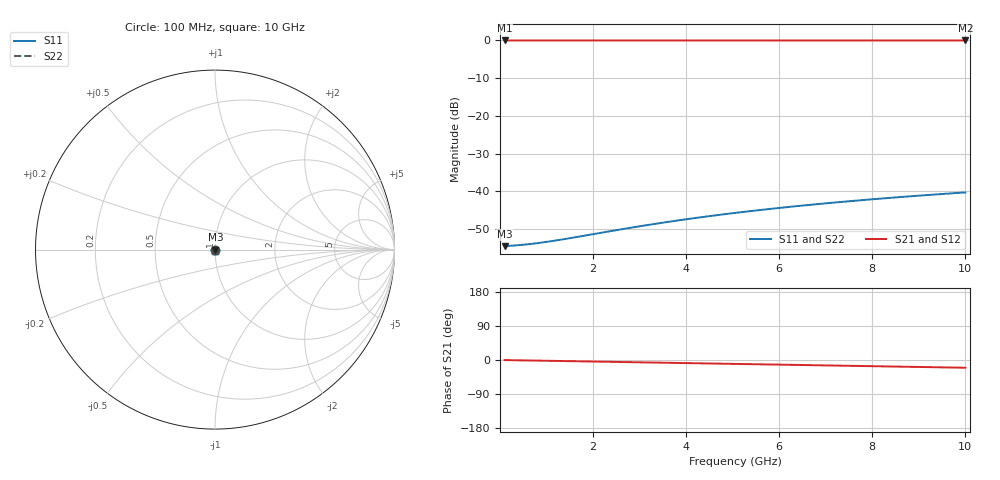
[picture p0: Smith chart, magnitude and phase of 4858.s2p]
# Hz S RI R 50.00
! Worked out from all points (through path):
!   100 points, 100 MHz to 10 GHz, reference 50 ohm
!   highest |S21| = -0.02 dB at 100 MHz (marker M1); lowest = 0.0 dB at 10 GHz (marker M2)
!   group delay of S21, straight-line fit = 5.67 ps
!   lowest |S11| = -54.5 dB at 100 MHz (marker M3), VSWR 1.00, Z = 50.2 - j0.0102 ohm
!   |S11| at or under -10 dB: start of sweep to end of sweep
!   |S22| runs from -54.5 to -40.3 dB; largest |S21 - S12| = 0
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1e8  0.00188 -0.000101  0.9981 -0.00355  0.9981 -0.00355  0.00188 -0.000101
3e8  0.0019 -0.000304  0.998 -0.0106  0.998 -0.0106  0.0019 -0.000304
5e8  0.0019 -0.000507  0.9979 -0.0177  0.9979 -0.0177  0.0019 -0.000507
8e8  0.0019 -0.000812  0.9976 -0.0284  0.9976 -0.0284  0.0019 -0.000812
1e9  0.00189 -0.00101  0.9974 -0.0355  0.9974 -0.0355  0.00189 -0.00101
1.2e9  0.00188 -0.00122  0.9971 -0.0426  0.9971 -0.0426  0.00188 -0.00122
1.5e9  0.00186 -0.00152  0.9966 -0.0532  0.9966 -0.0532  0.00186 -0.00152
1.8e9  0.00183 -0.00183  0.996 -0.0638  0.996 -0.0638  0.00183 -0.00183
2.7e9  0.00169 -0.00274  0.9934 -0.0957  0.9934 -0.0957  0.00169 -0.00274
3.1e9  0.00161 -0.00314  0.9919 -0.1098  0.9919 -0.1098  0.00161 -0.00314
3.4e9  0.00155 -0.00344  0.9906 -0.1204  0.9906 -0.1204  0.00155 -0.00344
3.8e9  0.00145 -0.00384  0.9888 -0.1345  0.9888 -0.1345  0.00145 -0.00384
4.2e9  0.00134 -0.00424  0.9868 -0.1486  0.9868 -0.1486  0.00134 -0.00424
4.6e9  0.00122 -0.00464  0.9845 -0.1626  0.9845 -0.1626  0.00122 -0.00464
5.1e9  0.00105 -0.00513  0.9815 -0.1801  0.9815 -0.1801  0.00105 -0.00513
5.5e9  0.000901 -0.00552  0.9788 -0.1941  0.9788 -0.1941  0.000901 -0.00552
5.9e9  0.000743 -0.0059  0.9759 -0.208  0.9759 -0.208  0.000743 -0.0059
6.7e9  0.000395 -0.00666  0.9695 -0.2358  0.9695 -0.2358  0.000395 -0.00666
7.5e9  3.29e-06 -0.00741  0.9624 -0.2633  0.9624 -0.2633  3.29e-06 -0.00741
8.4e9  -0.000487 -0.00822  0.9533 -0.2941  0.9533 -0.2941  -0.000487 -0.00822
9.2e9  -0.000965 -0.00891  0.9445 -0.3213  0.9445 -0.3213  -0.000965 -0.00891
1e10  -0.00148 -0.00959  0.9349 -0.3481  0.9349 -0.3481  -0.00148 -0.00959
